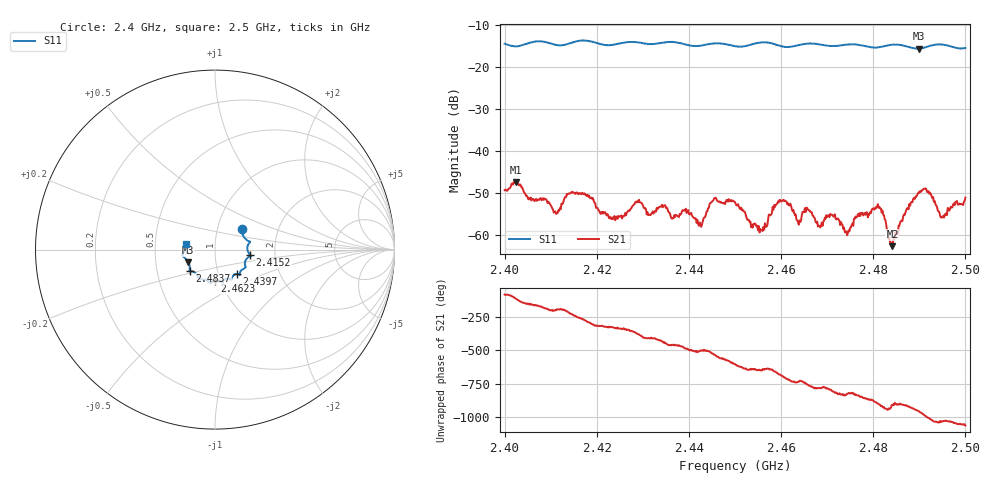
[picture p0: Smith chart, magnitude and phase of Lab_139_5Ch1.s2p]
# Hz S RI R 50
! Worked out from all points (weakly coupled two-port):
!   601 points, 2.4 GHz to 2.5 GHz, reference 50 ohm
!   highest |S21| = -47.43 dB at 2.4025 GHz (marker M1); lowest = -62.7 dB at 2.4842 GHz (marker M2)
!   lowest |S11| = -15.7 dB at 2.4898 GHz (marker M3), VSWR 1.39, Z = 36.7 - j5.34 ohm
!   |S11| at or under -10 dB: start of sweep to end of sweep
!   S12 and S22 are empty: the file has one direction only
!   S11 on the Smith chart (normalised r, x): 2.4 GHz: 1.31, +0.31; 2.4152 GHz: 1.48, -0.09; 2.4397 GHz: 1.22, -0.34; 2.4623 GHz: 0.94, -0.34; 2.4837 GHz: 0.74, -0.18; 2.5 GHz: 0.72, +0.05
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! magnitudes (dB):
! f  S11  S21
! 2.4 GHz  -14.5  -49.4
! 2.4025 GHz  -15.1  -47.4
! 2.411 GHz  -14.8  -54.4
! 2.4152 GHz  -14.1  -49.9
! 2.4167 GHz  -13.7  -50.3
! 2.4232 GHz  -14.8  -56.2
! 2.4333 GHz  -14.4  -53.5
! 2.4397 GHz  -14.8  -54.4
! 2.4425 GHz  -15.0  -57.8
! 2.45 GHz  -15.1  -52.2
! 2.4555 GHz  -14.2  -58.6
! 2.4593 GHz  -14.9  -52.0
! 2.4623 GHz  -15.2  -53.8
! 2.4667 GHz  -14.4  -54.6
! 2.4743 GHz  -14.7  -60.1
! 2.4812 GHz  -15.4  -53.5
! 2.4833 GHz  -14.8  -61.0
! 2.4837 GHz  -14.8  -61.8
! 2.4842 GHz  -14.7  -62.7
! 2.4898 GHz  -15.7  -49.9
! 2.495 GHz  -14.7  -55.6
! 2.5 GHz  -15.5  -51.2
